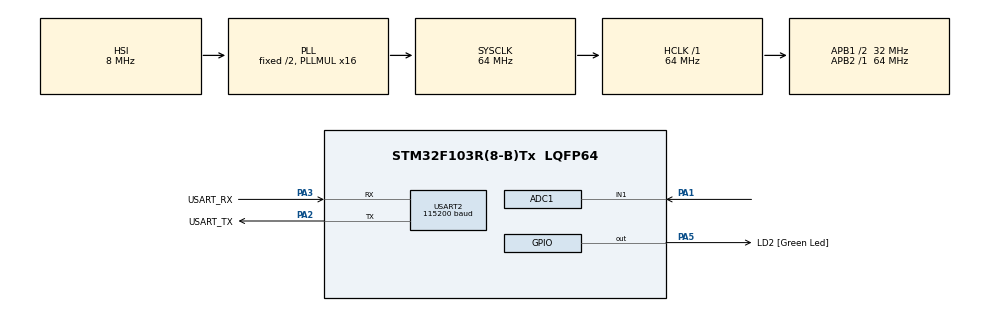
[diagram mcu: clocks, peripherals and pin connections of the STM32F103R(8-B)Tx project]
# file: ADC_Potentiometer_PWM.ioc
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ADC1.Channel-0\#ChannelRegularConversion=ADC_CHANNEL_1
ADC1.ContinuousConvMode=ENABLE
ADC1.DiscontinuousConvMode=DISABLE
ADC1.ExternalTrigConv=ADC_SOFTWARE_START
ADC1.NbrOfConversion=1
ADC1.NbrOfConversionFlag=1
ADC1.Rank-0\#ChannelRegularConversion=1
ADC1.SamplingTime-0\#ChannelRegularConversion=ADC_SAMPLETIME_71CYCLES_5
ADC1.ScanConvMode=ADC_SCAN_DISABLE
ADC1.master=1
Dma.ADC1.0.Direction=DMA_PERIPH_TO_MEMORY
Dma.ADC1.0.Instance=DMA1_Channel1
Dma.ADC1.0.MemDataAlignment=DMA_MDATAALIGN_HALFWORD
Dma.ADC1.0.MemInc=DMA_MINC_DISABLE
Dma.ADC1.0.Mode=DMA_CIRCULAR
Dma.ADC1.0.PeriphDataAlignment=DMA_PDATAALIGN_HALFWORD
Dma.ADC1.0.PeriphInc=DMA_PINC_DISABLE
Dma.ADC1.0.Priority=DMA_PRIORITY_LOW
Dma.Request0=ADC1
Mcu.Family=STM32F1
Mcu.Name=STM32F103R(8-B)Tx
Mcu.Package=LQFP64
NVIC.PriorityGroup=NVIC_PRIORITYGROUP_4
PA0-WKUP.GPIO_Speed=GPIO_SPEED_FREQ_HIGH
PA0-WKUP.Signal=S_TIM2_CH1
PA1.Mode=IN1
PA1.Signal=ADCx_IN1
PA13.GPIO_Label=TMS
PA13.Mode=Serial_Wire
PA13.Signal=SYS_JTMS-SWDIO
PA14.GPIO_Label=TCK
PA14.Mode=Serial_Wire
PA14.Signal=SYS_JTCK-SWCLK
PA2.GPIO_Label=USART_TX
PA2.GPIO_Mode=GPIO_MODE_AF_PP
PA2.GPIO_PuPd=GPIO_NOPULL
PA2.GPIO_Speed=GPIO_SPEED_FREQ_LOW
PA2.Mode=Asynchronous
PA2.Signal=USART2_TX
PA3.GPIO_Label=USART_RX
PA3.GPIO_PuPd=GPIO_NOPULL
PA3.GPIO_Speed=GPIO_SPEED_FREQ_LOW
PA3.Mode=Asynchronous
PA3.Signal=USART2_RX
PA5.GPIO_Label=LD2 [Green Led]
PA5.GPIO_ModeDefaultOutputPP=GPIO_MODE_OUTPUT_PP
PA5.GPIO_PuPd=GPIO_NOPULL
PA5.GPIO_Speed=GPIO_SPEED_FREQ_LOW
PA5.Signal=GPIO_Output
PB3.GPIO_Label=SWO
PB3.Signal=SYS_JTDO-TRACESWO
PC14-OSC32_IN.Mode=LSE-External-Oscillator
PC14-OSC32_IN.Signal=RCC_OSC32_IN
PC15-OSC32_OUT.Mode=LSE-External-Oscillator
PC15-OSC32_OUT.Signal=RCC_OSC32_OUT
PD0-OSC_IN.Mode=HSE-External-Clock-Source
PD0-OSC_IN.Signal=RCC_OSC_IN
PD1-OSC_OUT.Mode=HSE-External-Clock-Source
PD1-OSC_OUT.Signal=RCC_OSC_OUT
ProjectManager.HeapSize=0x200
ProjectManager.StackSize=0x400
ProjectManager.TargetToolchain=STM32CubeIDE
RCC.ADCPresc=RCC_ADCPCLK2_DIV6
RCC.AHBFreq_Value=64000000
RCC.APB1CLKDivider=RCC_HCLK_DIV2
RCC.APB1Freq_Value=32000000
RCC.APB1TimFreq_Value=64000000
RCC.APB2Freq_Value=64000000
RCC.APB2TimFreq_Value=64000000
RCC.HCLKFreq_Value=64000000
RCC.PLLMUL=RCC_PLL_MUL16
RCC.RTCClockSelection=RCC_RTCCLKSOURCE_LSE
RCC.SYSCLKFreq_VALUE=64000000
RCC.SYSCLKSource=RCC_SYSCLKSOURCE_PLLCLK
RCC.USBFreq_Value=64000000
SH.ADCx_IN1.0=ADC1_IN1,IN1
TIM2.AutoReloadPreload=TIM_AUTORELOAD_PRELOAD_ENABLE
TIM2.Channel-PWM\ Generation1\ CH1=TIM_CHANNEL_1
TIM2.Period=999
TIM2.Prescaler=63
USART2.BaudRate=115200
USART2.VirtualMode=VM_ASYNC
VP_TIM2_VS_ClockSourceINT.Mode=Internal
board=NUCLEO-F103RB

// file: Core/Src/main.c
/* USER CODE BEGIN Header */
/**
 ******************************************************************************
 * @file           : main.c
 * @brief          : Main program body
 ******************************************************************************
 * @attention
 *
 * Copyright (c) 2026 STMicroelectronics.
 * All rights reserved.
 *
 * This software is licensed under terms that can be found in the LICENSE file
 * in the root directory of this software component.
 * If no LICENSE file comes with this software, it is provided AS-IS.
 *
 ******************************************************************************
 */
/**
 * 07_ADC_Potentiometer_PWM_c  —  [계층: HAL]  가변저항으로 LED 밝기 조절: ADC(입력) + TIM PWM(출력) + 감마 보정
 *
 * "센서 값 -> 처리 -> 액추에이터" 를 가장 단순하게 보여 주는 예제.
 *   입력 : PA1 (ADC1_IN1) 에 가변저항 가운데 단자, 양 끝은 3.3V / GND.  연속 변환 + DMA 로 최신값을 항상 변수에 유지.
 *   처리 : 1) 이동 평균(8샘플)으로 노이즈 억제
 *          2) 감마 보정(밝기 ≈ 입력^2): 사람 눈은 밝기를 로그에 가깝게 느끼므로 선형 듀티는 낮은 쪽이 너무 급하게 밝아진다.
 *          3) 히스테리시스(불감대): 감마 후 듀티가 이전 출력과 3 이상 다를 때만 갱신 -> 값이 미세하게 떨려도 출력이 깜빡이지 않게
 *   출력 : TIM2_CH1 (PA0) 1kHz PWM -> 저항(330Ω) -> 외부 LED -> GND.   (온보드 LD2 는 PA5 = PWM 채널이 아님)
 *
 * PWM: TIM2 64MHz/64 = 1MHz, ARR = 1000-1, CCR1 = 0..1000 (듀티 0..100%).  ADC 12비트(0..4095) -> 감마 -> 0..1000
 *   duty = (adc/4095)^2 x 1000 = adc x adc / 16765 (정수 연산, adc = 4095 일 때 1000)
 *
 * ISR: 인터럽트를 사용하지 않는다 (ADC 는 DMA 가 최신값을 갱신, main 이 20ms 마다 읽는다).
 */
/* USER CODE END Header */
#include "main.h"

/* USER CODE BEGIN Includes */
#include <stdio.h>
#include <string.h>
/* USER CODE END Includes */

ADC_HandleTypeDef hadc1;
DMA_HandleTypeDef hdma_adc1;
TIM_HandleTypeDef htim2;
UART_HandleTypeDef huart2;

/* USER CODE BEGIN PV */
static volatile uint16_t adc_val;               /* DMA 가 계속 덮어쓰는 최신 변환값 */
/* USER CODE END PV */

void SystemClock_Config(void);
static void MX_GPIO_Init(void);
static void MX_DMA_Init(void);
static void MX_ADC1_Init(void);
static void MX_TIM2_Init(void);
static void MX_USART2_UART_Init(void);
void HAL_TIM_MspPostInit(TIM_HandleTypeDef *htim);

int main(void)
{

  /* USER CODE BEGIN 1 */
  uint32_t hist[8] = {0}, sum = 0;
  uint32_t idx = 0, filtered = 0, last_out = 0xFFFF;
  char msg[64];
  /* USER CODE END 1 */

  /* MCU Configuration--------------------------------------------------------*/

  /* Reset of all peripherals, Initializes the Flash interface and the Systick. */
  HAL_Init();

  /* Configure the system clock */
  SystemClock_Config();

  /* Initialize all configured peripherals */
  MX_GPIO_Init();
  MX_DMA_Init();
  MX_ADC1_Init();
  MX_TIM2_Init();
  MX_USART2_UART_Init();
  /* USER CODE BEGIN 2 */
  if (HAL_TIM_PWM_Start(&htim2, TIM_CHANNEL_1) != HAL_OK) Error_Handler();   /* TIM2->CCER.CC1E = 1, CR1.CEN = 1 */
  HAL_ADCEx_Calibration_Start(&hadc1);                                         /* ADC1->CR2.CAL */
  if (HAL_ADC_Start_DMA(&hadc1, (uint32_t *)&adc_val, 1) != HAL_OK) Error_Handler();
  uint32_t t_print = HAL_GetTick();
  /* USER CODE END 2 */

  /* Infinite loop */
  while (1)
  {

    /* USER CODE BEGIN 3 */
    HAL_Delay(20);

    /* 1) 이동 평균 (링 버퍼로 합계를 유지) */
    sum -= hist[idx];
    hist[idx] = adc_val;
    sum += hist[idx];
    idx = (idx + 1) & 7;
    filtered = sum >> 3;

    /* 2) 감마 보정 후 3) 히스테리시스: 새 듀티가 이전 출력과 3 이상 다를 때만 갱신 (0 과 1000 은 즉시 반영) */
    uint32_t duty = (filtered * filtered) / 16765U;
    if (duty > 1000U) duty = 1000U;
    if (last_out == 0xFFFF || (duty > last_out + 2U) || (duty + 2U < last_out) || duty == 0U || duty == 1000U)
    {
      last_out = duty;
      __HAL_TIM_SET_COMPARE(&htim2, TIM_CHANNEL_1, duty);           /* TIM2->CCR1 */
    }

    if (HAL_GetTick() - t_print >= 500)
    {
      t_print += 500;
      int n = snprintf(msg, sizeof msg, "adc=%4lu  duty=%3lu.%lu%%\r\n", (unsigned long)filtered,
                       (unsigned long)(last_out / 10), (unsigned long)(last_out % 10));
      HAL_UART_Transmit(&huart2, (uint8_t *)msg, (uint16_t)n, 100);
    }
  }
  /* USER CODE END 3 */
}

void SystemClock_Config(void)
{
  RCC_OscInitTypeDef RCC_OscInitStruct = {0};
  RCC_ClkInitTypeDef RCC_ClkInitStruct = {0};
  RCC_PeriphCLKInitTypeDef PeriphClkInit = {0};

  /** Initializes the RCC Oscillators according to the specified parameters
  * in the RCC_OscInitTypeDef structure.
  */
  RCC_OscInitStruct.OscillatorType = RCC_OSCILLATORTYPE_HSI;
  RCC_OscInitStruct.HSIState = RCC_HSI_ON;
  RCC_OscInitStruct.HSICalibrationValue = RCC_HSICALIBRATION_DEFAULT;
  RCC_OscInitStruct.PLL.PLLState = RCC_PLL_ON;
  RCC_OscInitStruct.PLL.PLLSource = RCC_PLLSOURCE_HSI_DIV2;
  RCC_OscInitStruct.PLL.PLLMUL = RCC_PLL_MUL16;
  if (HAL_RCC_OscConfig(&RCC_OscInitStruct) != HAL_OK)
  {
    Error_Handler();
  }

  /** Initializes the CPU, AHB and APB buses clocks
  */
  RCC_ClkInitStruct.ClockType = RCC_CLOCKTYPE_HCLK|RCC_CLOCKTYPE_SYSCLK
                              |RCC_CLOCKTYPE_PCLK1|RCC_CLOCKTYPE_PCLK2;
  RCC_ClkInitStruct.SYSCLKSource = RCC_SYSCLKSOURCE_PLLCLK;
  RCC_ClkInitStruct.AHBCLKDivider = RCC_SYSCLK_DIV1;
  RCC_ClkInitStruct.APB1CLKDivider = RCC_HCLK_DIV2;
  RCC_ClkInitStruct.APB2CLKDivider = RCC_HCLK_DIV1;

  if (HAL_RCC_ClockConfig(&RCC_ClkInitStruct, FLASH_LATENCY_2) != HAL_OK)
  {
    Error_Handler();
  }

  PeriphClkInit.PeriphClockSelection = RCC_PERIPHCLK_ADC;
  PeriphClkInit.AdcClockSelection = RCC_ADCPCLK2_DIV6;
  if (HAL_RCCEx_PeriphCLKConfig(&PeriphClkInit) != HAL_OK)
  {
    Error_Handler();
  }
}

static void MX_ADC1_Init(void)
{

  ADC_ChannelConfTypeDef sConfig = {0};

  /** Common config
  */
  hadc1.Instance = ADC1;
  hadc1.Init.ScanConvMode = ADC_SCAN_DISABLE;
  hadc1.Init.ContinuousConvMode = ENABLE;
  hadc1.Init.DiscontinuousConvMode = DISABLE;
  hadc1.Init.ExternalTrigConv = ADC_SOFTWARE_START;
  hadc1.Init.DataAlign = ADC_DATAALIGN_RIGHT;
  hadc1.Init.NbrOfConversion = 1;
  if (HAL_ADC_Init(&hadc1) != HAL_OK)
  {
    Error_Handler();
  }

  /** Configure Regular Channel
  */
  sConfig.Channel = ADC_CHANNEL_1;
  sConfig.Rank = ADC_REGULAR_RANK_1;
  sConfig.SamplingTime = ADC_SAMPLETIME_71CYCLES_5;
  if (HAL_ADC_ConfigChannel(&hadc1, &sConfig) != HAL_OK)
  {
    Error_Handler();
  }
  /* USER CODE BEGIN ADC1_Init 2 */
  /* ADC1->CR2.CONT = 1 (연속 변환), 샘플 71.5 사이클 (SMPR2), SQR3.SQ1 = CH1 (PA1)
   * ADC 클럭 prescaler (RCC->CFGR.ADCPRE, 64/6 = 10.67MHz) 는 SystemClock_Config() 에서 설정된다. */
  /* USER CODE END ADC1_Init 2 */

}

static void MX_TIM2_Init(void)
{

  TIM_MasterConfigTypeDef sMasterConfig = {0};
  TIM_OC_InitTypeDef sConfigOC = {0};

  htim2.Instance = TIM2;
  htim2.Init.Prescaler = 63;
  htim2.Init.CounterMode = TIM_COUNTERMODE_UP;
  htim2.Init.Period = 999;
  htim2.Init.ClockDivision = TIM_CLOCKDIVISION_DIV1;
  htim2.Init.AutoReloadPreload = TIM_AUTORELOAD_PRELOAD_ENABLE;
  if (HAL_TIM_PWM_Init(&htim2) != HAL_OK)
  {
    Error_Handler();
  }
  sMasterConfig.MasterOutputTrigger = TIM_TRGO_RESET;
  sMasterConfig.MasterSlaveMode = TIM_MASTERSLAVEMODE_DISABLE;
  if (HAL_TIMEx_MasterConfigSynchronization(&htim2, &sMasterConfig) != HAL_OK)
  {
    Error_Handler();
  }
  sConfigOC.OCMode = TIM_OCMODE_PWM1;
  sConfigOC.Pulse = 0;
  sConfigOC.OCPolarity = TIM_OCPOLARITY_HIGH;
  sConfigOC.OCFastMode = TIM_OCFAST_DISABLE;
  if (HAL_TIM_PWM_ConfigChannel(&htim2, &sConfigOC, TIM_CHANNEL_1) != HAL_OK)
  {
    Error_Handler();
  }
  /* USER CODE BEGIN TIM2_Init 2 */
  /* TIM2: 64MHz / (PSC+1 = 64) = 1MHz, ARR = 999 -> 1kHz PWM, CCR1 = 0..1000 (듀티 0..100%)
   *   TIM2->PSC = 63, TIM2->ARR = 999, TIM2->CR1.ARPE = 1, TIM2->CCMR1.OC1M = 110 (PWM 모드 1), TIM2->CCER.CC1P = 0 */
  /* USER CODE END TIM2_Init 2 */
  HAL_TIM_MspPostInit(&htim2);

}

static void MX_USART2_UART_Init(void)
{

  huart2.Instance = USART2;
  huart2.Init.BaudRate = 115200;
  huart2.Init.WordLength = UART_WORDLENGTH_8B;
  huart2.Init.StopBits = UART_STOPBITS_1;
  huart2.Init.Parity = UART_PARITY_NONE;
  huart2.Init.Mode = UART_MODE_TX_RX;
  huart2.Init.HwFlowCtl = UART_HWCONTROL_NONE;
  huart2.Init.OverSampling = UART_OVERSAMPLING_16;
  if (HAL_UART_Init(&huart2) != HAL_OK)
  {
    Error_Handler();
  }

}

static void MX_DMA_Init(void)
{

  /* DMA controller clock enable */
  __HAL_RCC_DMA1_CLK_ENABLE();

}

static void MX_GPIO_Init(void)
{
  GPIO_InitTypeDef GPIO_InitStruct = {0};

  /* GPIO Ports Clock Enable */
  __HAL_RCC_GPIOC_CLK_ENABLE();
  __HAL_RCC_GPIOD_CLK_ENABLE();
  __HAL_RCC_GPIOA_CLK_ENABLE();
  __HAL_RCC_GPIOB_CLK_ENABLE();

  /*Configure GPIO pin Output Level */
  HAL_GPIO_WritePin(LD2_GPIO_Port, LD2_Pin, GPIO_PIN_RESET);

  /*Configure GPIO pin : LD2_Pin */
  GPIO_InitStruct.Pin = LD2_Pin;
  GPIO_InitStruct.Mode = GPIO_MODE_OUTPUT_PP;
  GPIO_InitStruct.Pull = GPIO_NOPULL;
  GPIO_InitStruct.Speed = GPIO_SPEED_FREQ_LOW;
  HAL_GPIO_Init(LD2_GPIO_Port, &GPIO_InitStruct);

}

void Error_Handler(void)
{
  __disable_irq();
  while (1) {
  }
}
#ifdef USE_FULL_ASSERT
/**
  * @brief  Reports the name of the source file and the source line number
  *         where the assert_param error has occurred.
  * @param  file: pointer to the source file name
  * @param  line: assert_param error line source number
  * @retval None
  */
void assert_failed(uint8_t *file, uint32_t line)
{
  /* USER CODE BEGIN 6 */
  /* User can add his own implementation to report the file name and line
     number, ex: printf("Wrong parameters value: file %s on line %d\r\n", file,
     line) */
  /* USER CODE END 6 */
}
#endif /* USE_FULL_ASSERT */
